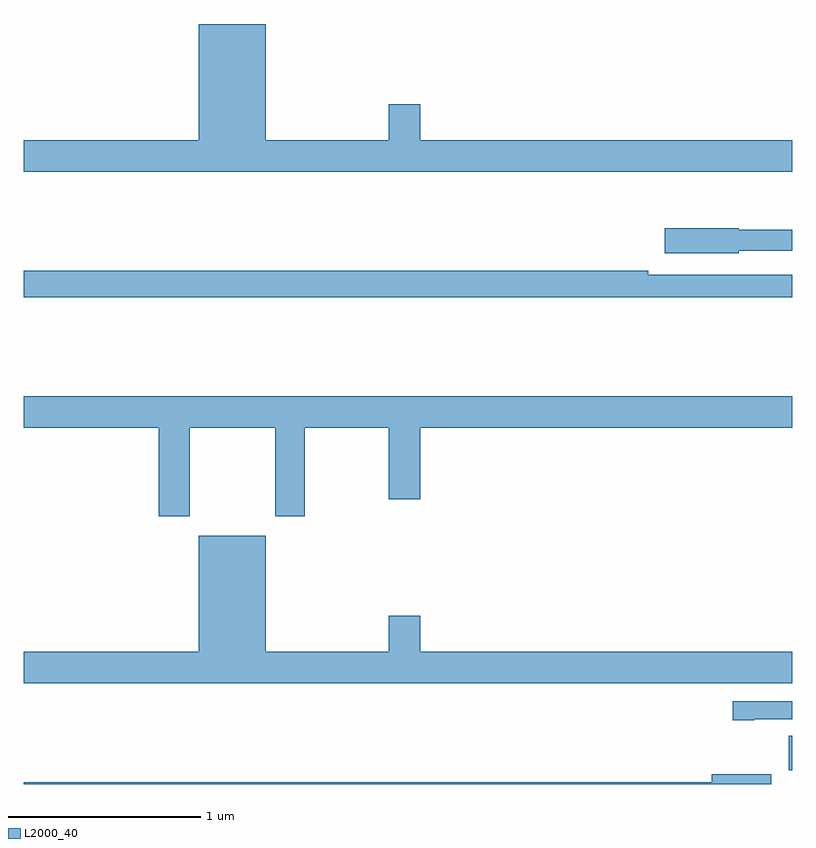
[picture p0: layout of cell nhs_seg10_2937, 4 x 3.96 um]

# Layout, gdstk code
import gdstk
lib = gdstk.Library(unit=1e-6, precision=1e-09)
def R(c, l, rs):  # rectangles x0, y0, x1, y1
    for r in rs: c.add(gdstk.rectangle(r[:2], r[2:], *l))
def P(c, l, *ps):  # polygons
    for p in ps: c.add(gdstk.Polygon(p, *l))
L2000_40 = (2000, 40)

nhs_seg10_2937 = lib.new_cell('nhs_seg10_2937')
R(nhs_seg10_2937, L2000_40, [(274.982,1258.572,275,1258.751)])
P(nhs_seg10_2937, L2000_40, [(275,1261.852),(273.064,1261.852),(273.064,1262.041),(272.9,1262.041),(272.9,1261.852),(272.26,1261.852),(272.26,1262.458),(271.91,1262.458),(271.91,1261.852),(271,1261.852),(271,1261.688),(275,1261.688)],
  [(274.722,1261.278),(275,1261.278),(275,1261.387),(274.722,1261.387),(274.722,1261.395),(274.338,1261.395),(274.338,1261.265),(274.722,1261.265)],
  [(275,1261.152),(274.25,1261.152),(274.25,1261.172),(271,1261.172),(271,1261.036),(275,1261.036)],
  [(271.863,1260.356),(272.308,1260.356),(272.308,1259.895),(272.463,1259.895),(272.463,1260.356),(272.9,1260.356),(272.9,1259.982),(273.064,1259.982),(273.064,1260.356),(275,1260.356),(275,1260.52),(271,1260.52),(271,1260.356),(271.703,1260.356),(271.703,1259.895),(271.863,1259.895)],
  [(275,1259.188),(273.064,1259.188),(273.064,1259.377),(272.9,1259.377),(272.9,1259.188),(272.26,1259.188),(272.26,1259.794),(271.91,1259.794),(271.91,1259.188),(271,1259.188),(271,1259.024),(275,1259.024)],
  [(274.804,1258.836),(275,1258.836),(275,1258.932),(274.692,1258.932),(274.692,1258.831),(274.804,1258.831)],
  [(274.891,1258.552),(274.583,1258.552),(274.583,1258.508),(271,1258.508),(271,1258.5),(274.891,1258.5)])

lib.write_gds('nhs_seg10_2937.gds')
